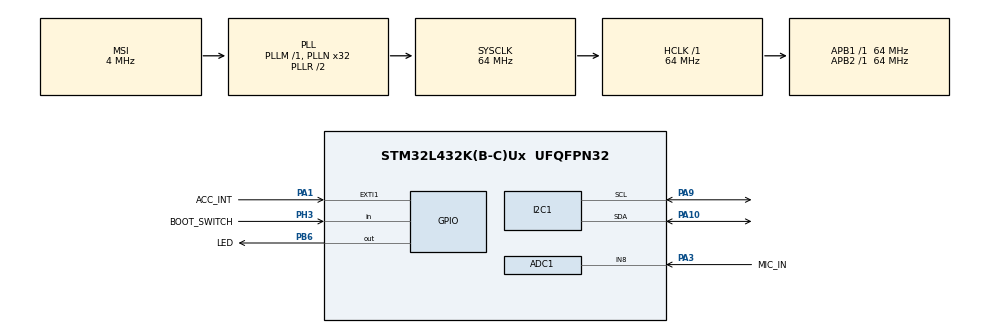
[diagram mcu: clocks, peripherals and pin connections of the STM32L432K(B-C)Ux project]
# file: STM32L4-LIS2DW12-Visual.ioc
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ADC1.Channel-0\#ChannelRegularConversion=ADC_CHANNEL_8
ADC1.ClockPrescaler=ADC_CLOCK_ASYNC_DIV2
ADC1.EnableInjectedConversion=ENABLE
ADC1.ExternalTrigConv=ADC_EXTERNALTRIG_T15_TRGO
ADC1.ExternalTrigInjecConv=ADC_EXTERNALTRIGINJEC_T2_TRGO
ADC1.InjMonitoredBy-1\#ChannelInjectedConversion=__NULL
ADC1.InjNumberOfConversion=1
ADC1.InjectedChannel-1\#ChannelInjectedConversion=ADC_CHANNEL_VREFINT
ADC1.InjectedOffsetNumber-1\#ChannelInjectedConversion=ADC_OFFSET_NONE
ADC1.InjectedRank-1\#ChannelInjectedConversion=1
ADC1.InjectedSamplingTime-1\#ChannelInjectedConversion=ADC_SAMPLETIME_92CYCLES_5
ADC1.NbrOfConversion=1
ADC1.NbrOfConversionFlag=1
ADC1.OffsetNumber-0\#ChannelRegularConversion=ADC_OFFSET_NONE
ADC1.Rank-0\#ChannelRegularConversion=1
ADC1.Rank1_Channel=ADC_CHANNEL_VREFINT
ADC1.SamplingTime-0\#ChannelRegularConversion=ADC_SAMPLETIME_12CYCLES_5
ADC1.master=1
I2C1.DualAddressMode=I2C_DUALADDRESS_ENABLE
I2C1.Timing=0x10B17DB5
Mcu.Family=STM32L4
Mcu.Name=STM32L432K(B-C)Ux
Mcu.Package=UFQFPN32
NVIC.ADC1_IRQn=true\:0\:0\:false\:false\:true\:true\:true\:true
NVIC.EXTI1_IRQn=true\:0\:0\:false\:false\:true\:true\:true\:true
NVIC.PriorityGroup=NVIC_PRIORITYGROUP_4
NVIC.TIM1_BRK_TIM15_IRQn=true\:0\:0\:false\:false\:true\:true\:true\:true
PA1.GPIO_Label=ACC_INT
PA1.Signal=GPXTI1
PA10.Mode=I2C
PA10.Signal=I2C1_SDA
PA13\ (JTMS-SWDIO).Mode=Serial_Wire
PA13\ (JTMS-SWDIO).Signal=SYS_JTMS-SWDIO
PA14\ (JTCK-SWCLK).Mode=Serial_Wire
PA14\ (JTCK-SWCLK).Signal=SYS_JTCK-SWCLK
PA3.GPIO_Label=MIC_IN
PA3.Signal=ADCx_IN8
PA9.Mode=I2C
PA9.Signal=I2C1_SCL
PB6.GPIO_Label=LED
PB6.Signal=GPIO_Output
PH3-BOOT0.GPIO_Label=BOOT_SWITCH
PH3-BOOT0.Signal=GPIO_Input
ProjectManager.HeapSize=0x200
ProjectManager.StackSize=0x400
ProjectManager.TargetToolchain=STM32CubeIDE
RCC.ADCFreq_Value=48000000
RCC.AHBFreq_Value=64000000
RCC.APB1Freq_Value=64000000
RCC.APB1TimFreq_Value=64000000
RCC.APB2Freq_Value=64000000
RCC.APB2TimFreq_Value=64000000
RCC.CortexFreq_Value=64000000
RCC.HCLKFreq_Value=64000000
RCC.HSE_VALUE=8000000
RCC.HSI48_VALUE=48000000
RCC.HSI_VALUE=16000000
RCC.LSE_VALUE=32768
RCC.MSI_VALUE=4000000
RCC.PLLN=32
RCC.PLLSAI1N=24
RCC.SYSCLKFreq_VALUE=64000000
RCC.SYSCLKSource=RCC_SYSCLKSOURCE_PLLCLK
RCC.USBFreq_Value=48000000
RCC.VCOOutputFreq_Value=128000000
SH.ADCx_IN8.0=ADC1_IN8,IN8-Single-Ended
TIM15.Period=1
TIM15.Prescaler=640-1
TIM15.TIM_MasterOutputTrigger=TIM_TRGO_UPDATE
TIM2.Period=1000
TIM2.Prescaler=64000
TIM2.TIM_MasterOutputTrigger=TIM_TRGO_UPDATE
VP_ADC1_Vref_Input.Mode=IN-Vrefint
VP_TIM15_VS_ClockSourceINT.Mode=Internal
VP_TIM2_VS_ClockSourceINT.Mode=Internal
board=custom

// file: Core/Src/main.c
/* USER CODE BEGIN Header */
/**
 ******************************************************************************
 * @file           : main.c
 * @brief          : Main program body
 ******************************************************************************
 * @attention
 *
 * Copyright (c) 2025 STMicroelectronics.
 * All rights reserved.
 *
 * This software is licensed under terms that can be found in the LICENSE file
 * in the root directory of this software component.
 * If no LICENSE file comes with this software, it is provided AS-IS.
 *
 ******************************************************************************
 */
/* USER CODE END Header */
#include "main.h"

/* USER CODE BEGIN Includes */

#include "LIS2DW12.h"       /* Custom driver accelerometer */
#include "ssd1306.h"        /* oled i2c module */
#include "ssd1306_fonts.h"  /* oled fonts */
#include <stdarg.h>         /* varadic functions */
#include <string.h>         /* dbg include for uart print */
#include <stdio.h>

/* USER CODE END Includes */

/* USER CODE BEGIN PD */

/*
 * taken from stm32l4xx_ll_adc.h for definition of vrefint calibraion
 * ( datasheet p. 29, reference manual p. 311 )
 * Used for calculating the VDDA voltage
 */

#define VREFINT_CAL_ADDR                    ((uint16_t*) (0x1FFF75AAUL)) /* Internal voltage reference, address of parameter VREFINT_CAL: VrefInt ADC raw data acquired at temperature 30 DegC (tolerance: +-5 DegC), Vref+ = 3.0 V (tolerance: +-10 mV). */
#define VREFINT_CAL_VALUE                   (*VREFINT_CAL_ADDR)         /* dereferenced to use in calculations */
#define VDDA_CHARAC                         3000                        /* VDDA voltage characteristic from datasheet */

/* USER CODE END PD */

ADC_HandleTypeDef hadc1;

I2C_HandleTypeDef hi2c1;

TIM_HandleTypeDef htim2;
TIM_HandleTypeDef htim15;

/* USER CODE BEGIN PV */

LIS2DW12 acc;
volatile uint8_t acc_data_ready = 0;

volatile uint32_t vrefint_data = 0;
volatile uint16_t mic_data = 0;
volatile uint8_t adc_data_ready = 0;

/* USER CODE END PV */

void SystemClock_Config(void);
static void MX_GPIO_Init(void);
static void MX_ADC1_Init(void);
static void MX_I2C1_Init(void);
static void MX_TIM2_Init(void);
static void MX_TIM15_Init(void);
/* USER CODE BEGIN PFP */
static void oled_print(uint8_t x, uint8_t y, const SSD1306_Font_t Font,
		SSD1306_COLOR color, const char *s, ...);
/* USER CODE END PFP */

/* USER CODE BEGIN 0 */

void HAL_GPIO_EXTI_Callback(uint16_t GPIO_Pin) {

	if (GPIO_Pin == ACC_INT_Pin) {

		/* Accelerometer is ready, set data ready flag for superloop */
		acc_data_ready = 1;

	}

}

void HAL_ADC_ConvCpltCallback(ADC_HandleTypeDef *hadc) {

	if (hadc->Instance == ADC1) {

		/* Read mic ADC data */
		mic_data = HAL_ADC_GetValue(hadc);

		adc_data_ready = 1;

	}

}

void HAL_ADCEx_InjectedConvCpltCallback(ADC_HandleTypeDef *hadc) {

		/* Sample the referecne voltage */
		vrefint_data = HAL_ADCEx_InjectedGetValue(hadc, ADC_INJECTED_RANK_1);

		HAL_GPIO_TogglePin(LED_GPIO_Port, LED_Pin);
}

/* USER CODE END 0 */

int main(void)
{

  /* USER CODE BEGIN 1 */
	acc_data_ready = 0;
	mic_data = 0;

  /* USER CODE END 1 */

  /* MCU Configuration--------------------------------------------------------*/

  /* Reset of all peripherals, Initializes the Flash interface and the Systick. */
  HAL_Init();

  /* Configure the system clock */
  SystemClock_Config();

  /* Initialize all configured peripherals */
  MX_GPIO_Init();
  MX_ADC1_Init();
  MX_I2C1_Init();
  MX_TIM2_Init();
  MX_TIM15_Init();
  /* USER CODE BEGIN 2 */

	LIS2DW12_Init(&acc, &hi2c1);

	ssd1306_Init();

	/* calibrate and start ADC with interrupts */

	if (HAL_ADCEx_Calibration_Start(&hadc1, ADC_SINGLE_ENDED) != HAL_OK)
		Error_Handler();
	if (HAL_ADCEx_InjectedStart_IT(&hadc1) != HAL_OK)
		Error_Handler();

	HAL_StatusTypeDef err = HAL_ADC_Start_IT(&hadc1);
	if (err != HAL_OK)
		Error_Handler();

	err = HAL_TIM_Base_Start_IT(&htim2);
	if (err != HAL_OK)
		Error_Handler();

	err = HAL_TIM_Base_Start_IT(&htim15);
	if (err != HAL_OK)
		Error_Handler();

	ssd1306_Fill(Black);
	ssd1306_UpdateScreen();

	ssd1306_SetCursor(0, 0);
	ssd1306_WriteString("          m/s^2", Font_6x8, White);

	ssd1306_SetCursor(5, 15);
	ssd1306_WriteString(" X   Y   Z", Font_11x18, White);

  /* USER CODE END 2 */

  /* Infinite loop */
  /* USER CODE BEGIN WHILE */
	while (1) {

		if (acc_data_ready != 0) {
			ssd1306_FillRectangle(0, 45, 127, 55, Black);

			/* read data */
			LIS2DW12_ReadTemperature(&acc);
			LIS2DW12_ReadAccelerations(&acc);

			ssd1306_FillRectangle(90, 0, 127, 0, Black);

			/* header of oled includes tempereature and battery */

			oled_print(103, 0, Font_6x8, White, "%dC", (int16_t) acc.temp_C);

			oled_print(0, 45, Font_7x10, White, "  %d     %d     %d",
					(int16_t) acc.acc_mps2[0], (int16_t) acc.acc_mps2[1],
					(int16_t) acc.acc_mps2[2]);

			/* clear flag */
			acc_data_ready = 0;
		}

		if (adc_data_ready != 0) {

			uint16_t vdda = 0; /* VDDA in mV */
			if (vrefint_data != 0)
				vdda = (VDDA_CHARAC * VREFINT_CAL_VALUE) / vrefint_data;

			oled_print(0, 0, Font_6x8, White, "VDDA:%u.%01u", vdda / 1000,
					(vdda % 1000) / 100);

			ssd1306_UpdateScreen();
		}
    /* USER CODE END WHILE */

	}
}

void SystemClock_Config(void)
{
  RCC_OscInitTypeDef RCC_OscInitStruct = {0};
  RCC_ClkInitTypeDef RCC_ClkInitStruct = {0};

  /** Configure the main internal regulator output voltage
  */
  if (HAL_PWREx_ControlVoltageScaling(PWR_REGULATOR_VOLTAGE_SCALE1) != HAL_OK)
  {
    Error_Handler();
  }

  /** Initializes the RCC Oscillators according to the specified parameters
  * in the RCC_OscInitTypeDef structure.
  */
  RCC_OscInitStruct.OscillatorType = RCC_OSCILLATORTYPE_MSI;
  RCC_OscInitStruct.MSIState = RCC_MSI_ON;
  RCC_OscInitStruct.MSICalibrationValue = 0;
  RCC_OscInitStruct.MSIClockRange = RCC_MSIRANGE_6;
  RCC_OscInitStruct.PLL.PLLState = RCC_PLL_ON;
  RCC_OscInitStruct.PLL.PLLSource = RCC_PLLSOURCE_MSI;
  RCC_OscInitStruct.PLL.PLLM = 1;
  RCC_OscInitStruct.PLL.PLLN = 32;
  RCC_OscInitStruct.PLL.PLLP = RCC_PLLP_DIV7;
  RCC_OscInitStruct.PLL.PLLQ = RCC_PLLQ_DIV2;
  RCC_OscInitStruct.PLL.PLLR = RCC_PLLR_DIV2;
  if (HAL_RCC_OscConfig(&RCC_OscInitStruct) != HAL_OK)
  {
    Error_Handler();
  }

  /** Initializes the CPU, AHB and APB buses clocks
  */
  RCC_ClkInitStruct.ClockType = RCC_CLOCKTYPE_HCLK|RCC_CLOCKTYPE_SYSCLK
                              |RCC_CLOCKTYPE_PCLK1|RCC_CLOCKTYPE_PCLK2;
  RCC_ClkInitStruct.SYSCLKSource = RCC_SYSCLKSOURCE_PLLCLK;
  RCC_ClkInitStruct.AHBCLKDivider = RCC_SYSCLK_DIV1;
  RCC_ClkInitStruct.APB1CLKDivider = RCC_HCLK_DIV1;
  RCC_ClkInitStruct.APB2CLKDivider = RCC_HCLK_DIV1;

  if (HAL_RCC_ClockConfig(&RCC_ClkInitStruct, FLASH_LATENCY_3) != HAL_OK)
  {
    Error_Handler();
  }
}

static void MX_ADC1_Init(void)
{

  ADC_ChannelConfTypeDef sConfig = {0};
  ADC_InjectionConfTypeDef sConfigInjected = {0};

  /** Common config
  */
  hadc1.Instance = ADC1;
  hadc1.Init.ClockPrescaler = ADC_CLOCK_ASYNC_DIV2;
  hadc1.Init.Resolution = ADC_RESOLUTION_12B;
  hadc1.Init.DataAlign = ADC_DATAALIGN_RIGHT;
  hadc1.Init.ScanConvMode = ADC_SCAN_DISABLE;
  hadc1.Init.EOCSelection = ADC_EOC_SINGLE_CONV;
  hadc1.Init.LowPowerAutoWait = DISABLE;
  hadc1.Init.ContinuousConvMode = DISABLE;
  hadc1.Init.NbrOfConversion = 1;
  hadc1.Init.DiscontinuousConvMode = DISABLE;
  hadc1.Init.ExternalTrigConv = ADC_EXTERNALTRIG_T15_TRGO;
  hadc1.Init.ExternalTrigConvEdge = ADC_EXTERNALTRIGCONVEDGE_RISING;
  hadc1.Init.DMAContinuousRequests = DISABLE;
  hadc1.Init.Overrun = ADC_OVR_DATA_PRESERVED;
  hadc1.Init.OversamplingMode = DISABLE;
  if (HAL_ADC_Init(&hadc1) != HAL_OK)
  {
    Error_Handler();
  }

  /** Disable Injected Queue
  */
  HAL_ADCEx_DisableInjectedQueue(&hadc1);

  /** Configure Regular Channel
  */
  sConfig.Channel = ADC_CHANNEL_8;
  sConfig.Rank = ADC_REGULAR_RANK_1;
  sConfig.SamplingTime = ADC_SAMPLETIME_12CYCLES_5;
  sConfig.SingleDiff = ADC_SINGLE_ENDED;
  sConfig.OffsetNumber = ADC_OFFSET_NONE;
  sConfig.Offset = 0;
  if (HAL_ADC_ConfigChannel(&hadc1, &sConfig) != HAL_OK)
  {
    Error_Handler();
  }

  /** Configure Injected Channel
  */
  sConfigInjected.InjectedChannel = ADC_CHANNEL_VREFINT;
  sConfigInjected.InjectedRank = ADC_INJECTED_RANK_1;
  sConfigInjected.InjectedSamplingTime = ADC_SAMPLETIME_92CYCLES_5;
  sConfigInjected.InjectedSingleDiff = ADC_SINGLE_ENDED;
  sConfigInjected.InjectedOffsetNumber = ADC_OFFSET_NONE;
  sConfigInjected.InjectedOffset = 0;
  sConfigInjected.InjectedNbrOfConversion = 1;
  sConfigInjected.InjectedDiscontinuousConvMode = DISABLE;
  sConfigInjected.AutoInjectedConv = DISABLE;
  sConfigInjected.QueueInjectedContext = DISABLE;
  sConfigInjected.ExternalTrigInjecConv = ADC_EXTERNALTRIGINJEC_T2_TRGO;
  sConfigInjected.ExternalTrigInjecConvEdge = ADC_EXTERNALTRIGINJECCONV_EDGE_RISING;
  sConfigInjected.InjecOversamplingMode = DISABLE;
  if (HAL_ADCEx_InjectedConfigChannel(&hadc1, &sConfigInjected) != HAL_OK)
  {
    Error_Handler();
  }

}

static void MX_I2C1_Init(void)
{

  hi2c1.Instance = I2C1;
  hi2c1.Init.Timing = 0x10B17DB5;
  hi2c1.Init.OwnAddress1 = 0;
  hi2c1.Init.AddressingMode = I2C_ADDRESSINGMODE_7BIT;
  hi2c1.Init.DualAddressMode = I2C_DUALADDRESS_ENABLE;
  hi2c1.Init.OwnAddress2 = 0;
  hi2c1.Init.OwnAddress2Masks = I2C_OA2_NOMASK;
  hi2c1.Init.GeneralCallMode = I2C_GENERALCALL_DISABLE;
  hi2c1.Init.NoStretchMode = I2C_NOSTRETCH_DISABLE;
  if (HAL_I2C_Init(&hi2c1) != HAL_OK)
  {
    Error_Handler();
  }

  /** Configure Analogue filter
  */
  if (HAL_I2CEx_ConfigAnalogFilter(&hi2c1, I2C_ANALOGFILTER_ENABLE) != HAL_OK)
  {
    Error_Handler();
  }

  /** Configure Digital filter
  */
  if (HAL_I2CEx_ConfigDigitalFilter(&hi2c1, 0) != HAL_OK)
  {
    Error_Handler();
  }

}

static void MX_TIM2_Init(void)
{

  TIM_ClockConfigTypeDef sClockSourceConfig = {0};
  TIM_MasterConfigTypeDef sMasterConfig = {0};

  htim2.Instance = TIM2;
  htim2.Init.Prescaler = 64000;
  htim2.Init.CounterMode = TIM_COUNTERMODE_UP;
  htim2.Init.Period = 1000;
  htim2.Init.ClockDivision = TIM_CLOCKDIVISION_DIV1;
  htim2.Init.AutoReloadPreload = TIM_AUTORELOAD_PRELOAD_DISABLE;
  if (HAL_TIM_Base_Init(&htim2) != HAL_OK)
  {
    Error_Handler();
  }
  sClockSourceConfig.ClockSource = TIM_CLOCKSOURCE_INTERNAL;
  if (HAL_TIM_ConfigClockSource(&htim2, &sClockSourceConfig) != HAL_OK)
  {
    Error_Handler();
  }
  sMasterConfig.MasterOutputTrigger = TIM_TRGO_UPDATE;
  sMasterConfig.MasterSlaveMode = TIM_MASTERSLAVEMODE_DISABLE;
  if (HAL_TIMEx_MasterConfigSynchronization(&htim2, &sMasterConfig) != HAL_OK)
  {
    Error_Handler();
  }

}

static void MX_TIM15_Init(void)
{

  TIM_ClockConfigTypeDef sClockSourceConfig = {0};
  TIM_MasterConfigTypeDef sMasterConfig = {0};

  htim15.Instance = TIM15;
  htim15.Init.Prescaler = 640-1;
  htim15.Init.CounterMode = TIM_COUNTERMODE_UP;
  htim15.Init.Period = 1;
  htim15.Init.ClockDivision = TIM_CLOCKDIVISION_DIV1;
  htim15.Init.RepetitionCounter = 0;
  htim15.Init.AutoReloadPreload = TIM_AUTORELOAD_PRELOAD_DISABLE;
  if (HAL_TIM_Base_Init(&htim15) != HAL_OK)
  {
    Error_Handler();
  }
  sClockSourceConfig.ClockSource = TIM_CLOCKSOURCE_INTERNAL;
  if (HAL_TIM_ConfigClockSource(&htim15, &sClockSourceConfig) != HAL_OK)
  {
    Error_Handler();
  }
  sMasterConfig.MasterOutputTrigger = TIM_TRGO_UPDATE;
  sMasterConfig.MasterSlaveMode = TIM_MASTERSLAVEMODE_DISABLE;
  if (HAL_TIMEx_MasterConfigSynchronization(&htim15, &sMasterConfig) != HAL_OK)
  {
    Error_Handler();
  }

}

static void MX_GPIO_Init(void)
{
  GPIO_InitTypeDef GPIO_InitStruct = {0};

  /* GPIO Ports Clock Enable */
  __HAL_RCC_GPIOA_CLK_ENABLE();
  __HAL_RCC_GPIOB_CLK_ENABLE();
  __HAL_RCC_GPIOH_CLK_ENABLE();

  /*Configure GPIO pin Output Level */
  HAL_GPIO_WritePin(LED_GPIO_Port, LED_Pin, GPIO_PIN_RESET);

  /*Configure GPIO pin : ACC_INT_Pin */
  GPIO_InitStruct.Pin = ACC_INT_Pin;
  GPIO_InitStruct.Mode = GPIO_MODE_IT_RISING;
  GPIO_InitStruct.Pull = GPIO_NOPULL;
  HAL_GPIO_Init(ACC_INT_GPIO_Port, &GPIO_InitStruct);

  /*Configure GPIO pin : LED_Pin */
  GPIO_InitStruct.Pin = LED_Pin;
  GPIO_InitStruct.Mode = GPIO_MODE_OUTPUT_PP;
  GPIO_InitStruct.Pull = GPIO_NOPULL;
  GPIO_InitStruct.Speed = GPIO_SPEED_FREQ_LOW;
  HAL_GPIO_Init(LED_GPIO_Port, &GPIO_InitStruct);

  /*Configure GPIO pin : BOOT_SWITCH_Pin */
  GPIO_InitStruct.Pin = BOOT_SWITCH_Pin;
  GPIO_InitStruct.Mode = GPIO_MODE_INPUT;
  GPIO_InitStruct.Pull = GPIO_NOPULL;
  HAL_GPIO_Init(BOOT_SWITCH_GPIO_Port, &GPIO_InitStruct);

  /* EXTI interrupt init*/
  HAL_NVIC_SetPriority(EXTI1_IRQn, 0, 0);
  HAL_NVIC_EnableIRQ(EXTI1_IRQn);

}

/* USER CODE BEGIN 4 */

/**
 * @brief wrapper for printing string to OLED
 */
static void oled_print(uint8_t x, uint8_t y, const SSD1306_Font_t Font,
		SSD1306_COLOR color, const char *s, ...) {

	/*
	 * This is a varadic function that wraps the printing sequence to the OLED.
	 * Can then be used like printf after defining location, font and color.
	 * More on varadic functions here: https://man7.org/linux/man-pages/man3/stdarg.3.html
	 * More on vsnprintf here: https://man7.org/linux/man-pages/man3/vsnprintf.3.html
	 */

	int n = 0;
	char buffer[20];
	if (strlen(s) > 20)
		return;

	va_list args;

	va_start(args, s);
	n = vsnprintf(buffer, sizeof(buffer), s, args);
	va_end(args);

	if (n < 0)
		return;

	ssd1306_SetCursor(x, y);
	ssd1306_WriteString(buffer, Font, color);

}

/* USER CODE END 4 */

void Error_Handler(void)
{
	__disable_irq();
	while (1) {
	}
}
